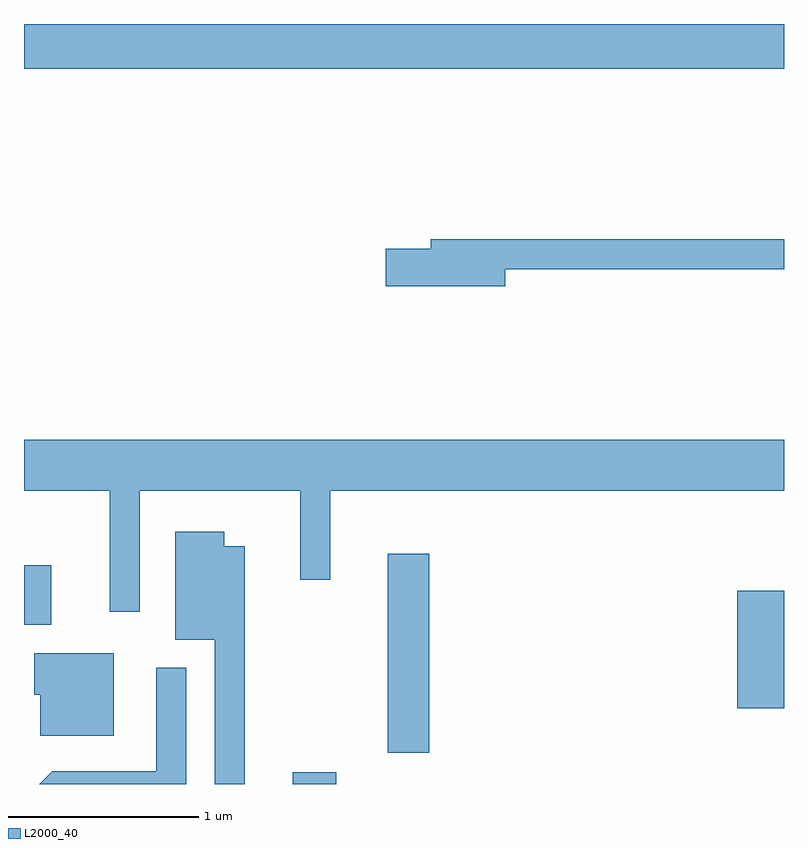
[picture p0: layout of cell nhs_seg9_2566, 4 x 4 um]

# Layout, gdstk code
import gdstk
lib = gdstk.Library(unit=1e-6, precision=1e-09)
def R(c, l, rs):  # rectangles x0, y0, x1, y1
    for r in rs: c.add(gdstk.rectangle(r[:2], r[2:], *l))
def P(c, l, *ps):  # polygons
    for p in ps: c.add(gdstk.Polygon(p, *l))
L2000_40 = (2000, 40)

nhs_seg9_2566 = lib.new_cell('nhs_seg9_2566')
R(nhs_seg9_2566, L2000_40, [(261.026,2052.432,261.254,2052.494), (261.526,2052.596,261.744,2053.644), (263.366,2052.831,263.611,2053.449), (259.611,2053.271,259.754,2053.583), (259.611,2056.196,263.611,2056.432)])
P(nhs_seg9_2566, L2000_40, [(262.144,2055.141),(263.611,2055.141),(263.611,2055.299),(261.751,2055.299),(261.751,2055.249),(261.516,2055.249),(261.516,2055.051),(262.144,2055.051)],
  [(260.219,2053.976),(261.066,2053.976),(261.066,2053.508),(261.224,2053.508),(261.224,2053.976),(263.611,2053.976),(263.611,2054.244),(259.611,2054.244),(259.611,2053.976),(260.061,2053.976),(260.061,2053.338),(260.219,2053.338)],
  [(260.774,2053.684),(260.664,2053.684),(260.664,2053.759),(260.406,2053.759),(260.406,2053.191),(260.616,2053.191),(260.616,2052.432),(260.774,2052.432)],
  [(260.084,2053.119),(259.666,2053.119),(259.666,2052.901),(259.696,2052.901),(259.696,2052.686),(260.084,2052.686)],
  [(260.464,2053.043),(260.306,2053.043),(260.306,2052.499),(259.759,2052.499),(259.692,2052.432),(260.464,2052.432)])

lib.write_gds('nhs_seg9_2566.gds')
